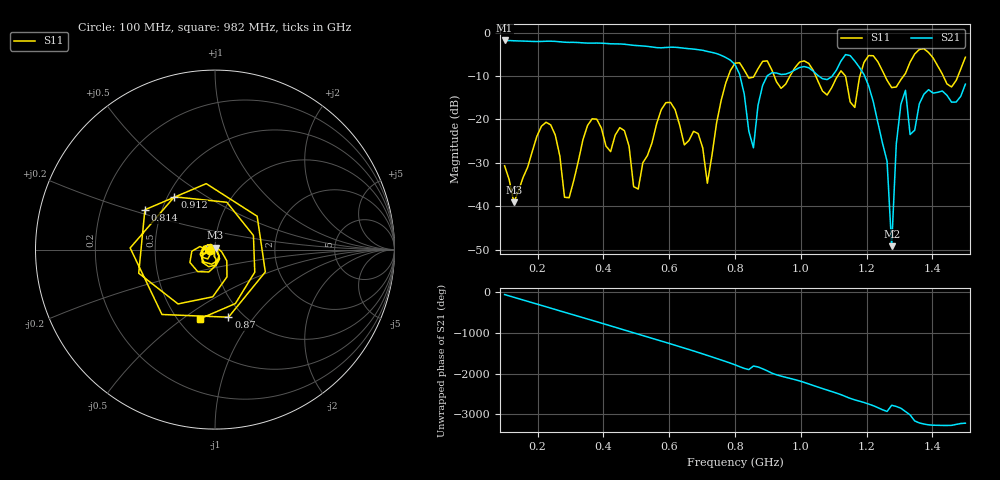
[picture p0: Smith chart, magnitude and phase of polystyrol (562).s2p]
! NanoVNA-App
! Date: 2025-09-25 15:34:15
! Start: 100MHz Stop: 1,5GHz Points: 101
! S-Parameter data: F S11 S21 S12 S22
# Hz S RI R 50
!  Frequency  S11_Real  S11_Imag  S21_Real  S21_Imag  S12_Real  S12_Imag  S22_Real  S22_Imag
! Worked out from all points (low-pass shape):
!   101 points, 100 MHz to 1.5 GHz, reference 50 ohm
!   highest |S21| = -1.80 dB at 100 MHz (marker M1); lowest = -49.2 dB at 1.276 GHz (marker M2)
!   |S21| within 3 dB of the highest: start of sweep to 743 MHz
!   lowest |S11| = -39.1 dB at 128 MHz (marker M3), VSWR 1.02, Z = 50.3 + j1.06 ohm
!   |S11| at or under -10 dB: start of sweep to 779.8 MHz; 1.045 GHz to 1.112 GHz (66.48 MHz wide, 6.16 % of centre); 1.136 GHz to 1.18 GHz (43.98 MHz wide, 3.8 % of centre) (the widest 3 of 7)
!   S12 and S22 are empty: the file has one direction only
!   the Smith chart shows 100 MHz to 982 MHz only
!   S11 on the Smith chart (normalised r, x): 100 MHz: 0.94, -0.01; 814 MHz: 0.40, +0.22; 870 MHz: 0.85, -0.76; 912 MHz: 0.54, +0.37; 982 MHz: 0.64, -0.58
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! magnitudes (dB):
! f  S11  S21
! 100 MHz  -30.7  -1.8
! 128 MHz  -39.1  -1.9
! 212 MHz  -21.6  -2.0
! 282 MHz  -37.9  -2.2
! 338 MHz  -24.7  -2.3
! 464 MHz  -22.6  -2.7
! 506 MHz  -36.1  -3.0
! 576 MHz  -17.8  -3.5
! 716 MHz  -34.7  -4.3
! 800 MHz  -7.0  -7.4
! 814 MHz  -6.9  -9.6
! 856 MHz  -10.3  -26.5
! 870 MHz  -8.3  -16.7
! 912 MHz  -8.6  -9.3
! 982 MHz  -8.1  -8.6
! 1.038 GHz  -8.7  -8.9
! 1.192 GHz  -6.8  -9.7
! 1.262 GHz  -11.0  -29.6
! 1.276 GHz  -12.7  -49.2
! 1.29 GHz  -12.5  -25.7
! 1.318 GHz  -9.4  -13.3
! 1.5 GHz  -5.7  -11.9
